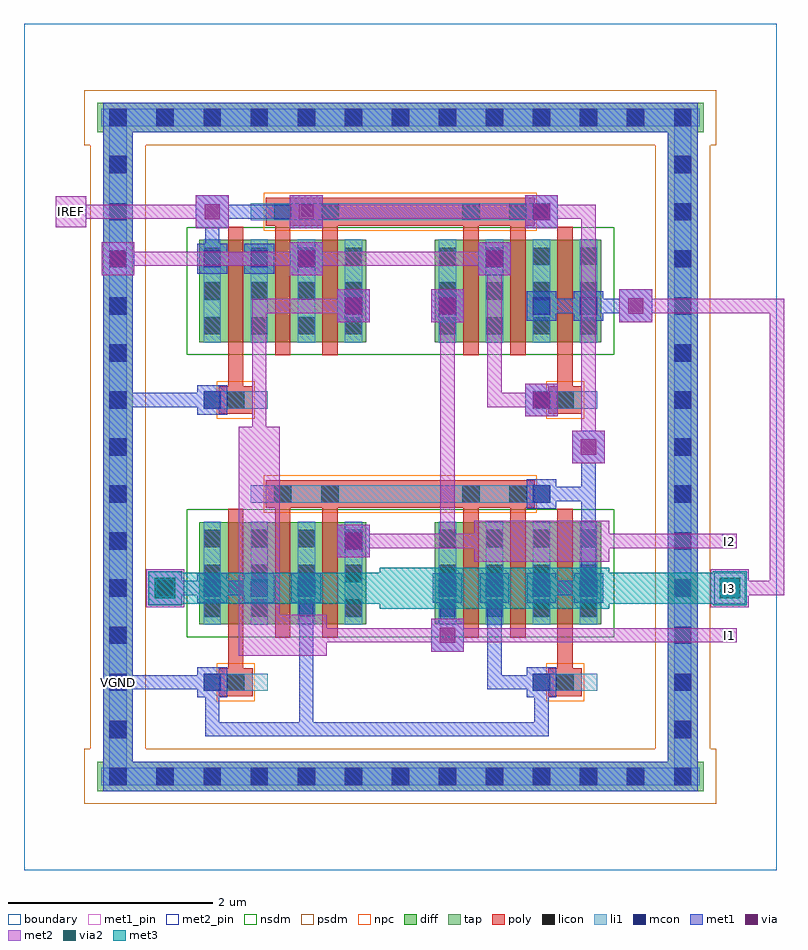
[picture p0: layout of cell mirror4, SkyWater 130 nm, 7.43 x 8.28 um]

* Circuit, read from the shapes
.subckt mirror4 I1 I2 I3 IREF VGND
XM1 I3 VGND I3 VGND sky130_fd_pr__nfet_01v8 w=1 l=0.15 m=2
XM2 IREF VGND IREF VGND sky130_fd_pr__nfet_01v8 w=1 l=0.15 m=2
XM3 VGND IREF I3 VGND sky130_fd_pr__nfet_01v8 w=1 l=0.15 m=2
XM4 VGND IREF IREF VGND sky130_fd_pr__nfet_01v8 w=1 l=0.15 m=2
XM5 I2 IREF VGND VGND sky130_fd_pr__nfet_01v8 w=1 l=0.15 m=2
XM6 I1 IREF VGND VGND sky130_fd_pr__nfet_01v8 w=1 l=0.15 m=2
.ends

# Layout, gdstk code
import gdstk
lib = gdstk.Library(unit=1e-6, precision=1e-09)
def R(c, l, rs):  # rectangles x0, y0, x1, y1
    for r in rs: c.add(gdstk.rectangle(r[:2], r[2:], *l))
def A(c, l, x, y, w, h, nx, ny, dx, dy):  # array of equal rectangles
    R(c, l, [(x+i*dx, y+j*dy, x+i*dx+w, y+j*dy+h) for i in range(nx) for j in range(ny)])
diff = (65, 20)
tap = (65, 44)
poly = (66, 20)
licon = (66, 44)
li1 = (67, 20)
mcon = (67, 44)
met1_pin = (68, 16)
met1 = (68, 20)
via = (68, 44)
met2_pin = (69, 16)
met2 = (69, 20)
via2 = (69, 44)
met3 = (70, 20)
nsdm = (93, 44)
psdm = (94, 20)
npc = (95, 20)
boundary = (235, 4)

mirror4 = lib.new_cell('mirror4')
R(mirror4, diff, [(1.715,2.405,3.345,3.405), (4.015,2.405,5.645,3.405), (1.715,5.165,3.345,6.165), (4.015,5.165,5.645,6.165)])
R(mirror4, tap, [(0.715,0.775,6.645,1.065), (0.775,0.775,1.065,7.505), (6.295,0.775,6.585,7.505), (0.715,7.215,6.645,7.505)])
R(mirror4, poly, [(1.905,1.705,2.235,1.975), (5.125,1.705,5.455,1.975), (1.995,1.84,2.145,3.535), (5.215,1.84,5.365,3.535), (2.455,2.275,2.605,3.68), (2.915,2.275,3.065,3.68), (4.295,2.275,4.445,3.68), (4.755,2.275,4.905,3.68), (2.365,3.545,4.995,3.815), (1.905,4.465,2.235,4.735), (5.125,4.465,5.455,4.735), (1.995,4.6,2.145,6.295), (5.215,4.6,5.365,6.295), (2.455,5.035,2.605,6.44), (2.915,5.035,3.065,6.44), (4.295,5.035,4.445,6.44), (4.755,5.035,4.905,6.44), (2.365,6.305,4.995,6.575)])
A(mirror4, licon, 0.835, 0.835, 0.17, 0.17, 13, 2, 0.46, 6.44)
A(mirror4, licon, 0.835, 1.295, 0.17, 0.17, 1, 13, 0, 0.46)
A(mirror4, licon, 6.355, 1.295, 0.17, 0.17, 1, 13, 0, 0.46)
A(mirror4, licon, 1.755, 2.48, 0.17, 0.17, 4, 3, 0.46, 0.34)
A(mirror4, licon, 4.055, 2.48, 0.17, 0.17, 4, 3, 0.46, 0.34)
A(mirror4, licon, 1.755, 5.24, 0.17, 0.17, 4, 3, 0.46, 0.34)
A(mirror4, licon, 4.055, 5.24, 0.17, 0.17, 4, 3, 0.46, 0.34)
R(mirror4, licon, [(1.985,1.755,2.155,1.925), (5.205,1.755,5.375,1.925), (2.445,3.595,2.615,3.765), (2.905,3.595,3.075,3.765), (4.285,3.595,4.455,3.765), (4.745,3.595,4.915,3.765), (1.985,4.515,2.155,4.685), (5.205,4.515,5.375,4.685), (2.445,6.355,2.615,6.525), (2.905,6.355,3.075,6.525), (4.285,6.355,4.455,6.525), (4.745,6.355,4.915,6.525)])
A(mirror4, li1, 1.755, 2.4, 0.17, 1.01, 4, 2, 0.46, 2.76)
A(mirror4, li1, 4.055, 2.4, 0.17, 1.01, 4, 2, 0.46, 2.76)
R(mirror4, li1, [(0.755,0.835,6.605,1.005), (0.835,0.835,1.005,7.445), (6.355,0.835,6.525,7.445), (1.755,1.755,2.385,1.925), (4.975,1.755,5.605,1.925), (2.215,3.595,5.145,3.765), (1.755,4.515,2.385,4.685), (4.975,4.515,5.605,4.685), (2.215,6.355,5.145,6.525), (0.755,7.275,6.605,7.445)])
A(mirror4, mcon, 0.835, 0.835, 0.17, 0.17, 13, 2, 0.46, 6.44)
A(mirror4, mcon, 0.835, 1.295, 0.17, 0.17, 1, 13, 0, 0.46)
A(mirror4, mcon, 6.355, 1.295, 0.17, 0.17, 1, 13, 0, 0.46)
A(mirror4, mcon, 1.755, 2.675, 0.17, 0.17, 3, 2, 0.46, 3.22)
A(mirror4, mcon, 4.055, 2.675, 0.17, 0.17, 4, 1, 0.46, 0)
A(mirror4, mcon, 3.135, 5.435, 0.17, 0.17, 3, 1, 0.92, 0)
R(mirror4, mcon, [(1.755,1.755,1.925,1.925), (4.975,1.755,5.145,1.925), (3.135,3.135,3.305,3.305), (4.975,3.595,5.145,3.765), (1.755,4.515,1.925,4.685), (4.975,4.515,5.145,4.685), (5.435,5.435,5.605,5.605), (4.515,5.895,4.685,6.065), (4.975,6.355,5.145,6.525)])
R(mirror4, met1_pin, [(0.85,1.77,0.99,1.91)])
A(mirror4, met1, 1.695, 2.615, 0.29, 0.29, 3, 2, 0.46, 3.22)
A(mirror4, met1, 3.995, 2.615, 0.29, 0.29, 4, 1, 0.46, 0)
A(mirror4, met1, 3.075, 5.375, 0.29, 0.29, 3, 1, 0.92, 0)
A(mirror4, met1, 0.76, 5.82, 0.32, 0.32, 3, 1, 1.84, 0)
R(mirror4, met1, [(0.775,0.775,6.585,1.065), (0.775,0.775,1.065,7.505), (6.295,0.775,6.585,7.505), (1.77,1.31,1.91,1.91), (1.77,1.31,5.13,1.45), (2.69,1.31,2.83,2.83), (4.99,1.31,5.13,1.91), (1.695,1.695,1.985,1.985), (4.915,1.695,5.205,1.985), (0.85,1.77,0.99,1.91), (0.85,1.77,1.91,1.91), (0.85,1.77,0.99,4.67), (4.53,1.77,5.13,1.91), (4.53,1.77,4.67,2.83), (3.98,2.14,4.3,2.46), (4.07,2.23,4.21,2.83), (1.22,2.6,1.54,2.92), (1.31,2.69,1.91,2.83), (1.77,2.69,2.37,2.83), (4.99,2.69,5.59,2.83), (5.45,2.69,5.59,3.75), (3.06,3.06,3.38,3.38), (3.075,3.075,3.365,3.365), (4.915,3.535,5.205,3.825), (4.99,3.61,5.59,3.75), (5.45,3.61,5.59,4.21), (5.36,3.98,5.68,4.3), (4.9,4.44,5.22,4.76), (1.695,4.455,1.985,4.745), (4.915,4.455,5.205,4.745), (0.85,4.53,1.91,4.67), (0.85,4.53,0.99,7.43), (3.06,5.36,3.38,5.68), (3.98,5.36,4.3,5.68), (5.82,5.36,6.14,5.68), (5.375,5.375,5.665,5.665), (4.99,5.45,5.59,5.59), (5.45,5.45,6.05,5.59), (4.455,5.835,4.745,6.125), (1.77,5.91,1.91,6.51), (1.77,5.91,2.37,6.05), (1.68,6.28,2,6.6), (2.6,6.28,2.92,6.6), (4.9,6.28,5.22,6.6), (4.915,6.295,5.205,6.585), (1.77,6.37,2.83,6.51), (0.775,7.215,6.585,7.505), (0.85,7.29,0.99,7.43)])
A(mirror4, via, 0.845, 5.905, 0.15, 0.15, 3, 1, 1.84, 0)
R(mirror4, via, [(4.065,2.225,4.215,2.375), (1.305,2.685,1.455,2.835), (3.145,3.145,3.295,3.295), (5.445,4.065,5.595,4.215), (4.985,4.525,5.135,4.675), (3.145,5.445,3.295,5.595), (4.065,5.445,4.215,5.595), (5.905,5.445,6.055,5.595), (1.765,6.365,1.915,6.515), (2.685,6.365,2.835,6.515), (4.985,6.365,5.135,6.515)])
R(mirror4, met2_pin, [(6.83,2.23,6.97,2.37), (6.75,2.61,7.05,2.91), (6.83,3.15,6.97,3.29), (0.31,6.29,0.61,6.59)])
A(mirror4, met2, 6.83, 2.23, 0.14, 0.14, 1, 3, 0, 0.46)
A(mirror4, met2, 0.76, 5.82, 0.32, 0.32, 3, 1, 1.84, 0)
R(mirror4, met2, [(2.1,2.1,2.96,2.5), (2.1,2.1,2.5,4.34), (3.98,2.14,4.3,2.46), (2.69,2.23,4.21,2.37), (4.07,2.23,6.97,2.37), (1.195,2.575,1.565,2.945), (6.715,2.575,7.085,2.945), (1.22,2.6,1.54,2.92), (6.75,2.61,7.05,2.91), (6.83,2.69,7.43,2.83), (7.29,2.69,7.43,5.59), (4.4,3.02,5.72,3.42), (3.06,3.06,3.38,3.38), (3.15,3.15,4.21,3.29), (4.07,3.15,4.21,5.59), (4.07,3.15,4.67,3.29), (5.45,3.15,6.97,3.29), (5.36,3.98,5.68,4.3), (2.23,4.07,2.37,5.59), (5.45,4.07,5.59,6.51), (4.9,4.44,5.22,4.76), (4.53,4.53,5.13,4.67), (4.53,4.53,4.67,6.05), (3.06,5.36,3.38,5.68), (3.98,5.36,4.3,5.68), (5.82,5.36,6.14,5.68), (2.23,5.45,3.29,5.59), (5.91,5.45,7.43,5.59), (0.85,5.91,2.83,6.05), (2.69,5.91,4.67,6.05), (1.68,6.28,2,6.6), (2.6,6.28,2.92,6.6), (4.9,6.28,5.22,6.6), (0.31,6.29,0.61,6.59), (0.39,6.37,0.53,6.51), (0.39,6.37,1.91,6.51), (2.69,6.37,5.13,6.51), (4.99,6.37,5.59,6.51)])
R(mirror4, via2, [(1.28,2.66,1.48,2.86), (6.8,2.66,7,2.86)])
R(mirror4, met3, [(3.48,2.56,5.72,2.96), (1.215,2.595,1.545,2.925), (6.735,2.595,7.065,2.925), (1.23,2.61,3.83,2.91), (5.37,2.61,7.05,2.91)])
R(mirror4, nsdm, [(1.59,2.28,5.77,3.53), (1.59,5.04,5.77,6.29)])
R(mirror4, psdm, [(0.59,0.65,6.77,1.19), (0.65,1.19,1.19,7.09), (6.17,1.19,6.71,7.09), (0.59,7.09,6.77,7.63)])
R(mirror4, npc, [(1.885,1.655,2.255,2.025), (5.105,1.655,5.475,2.025), (2.345,3.495,5.015,3.865), (1.885,4.415,2.255,4.785), (5.105,4.415,5.475,4.785), (2.345,6.255,5.015,6.625)])
R(mirror4, boundary, [(0,0,7.36,8.28)])
mirror4.add(gdstk.Label('VGND', (0.92,1.84), layer=68, texttype=5))
mirror4.add(gdstk.Label('IREF', (0.46,6.44), layer=69, texttype=5))
mirror4.add(gdstk.Label('I1', (6.9,2.3), layer=69, texttype=5))
mirror4.add(gdstk.Label('I2', (6.9,3.22), layer=69, texttype=5))
mirror4.add(gdstk.Label('I3', (6.9,2.76), layer=69, texttype=5))
mirror4.add(gdstk.Label('VGND', (0.92,1.84), layer=68, texttype=16))
mirror4.add(gdstk.Label('IREF', (0.46,6.44), layer=69, texttype=16))
mirror4.add(gdstk.Label('I1', (6.9,2.3), layer=69, texttype=16))
mirror4.add(gdstk.Label('I2', (6.9,3.22), layer=69, texttype=16))
mirror4.add(gdstk.Label('I3', (6.9,2.76), layer=69, texttype=16))

lib.write_gds('mirror4.gds')
